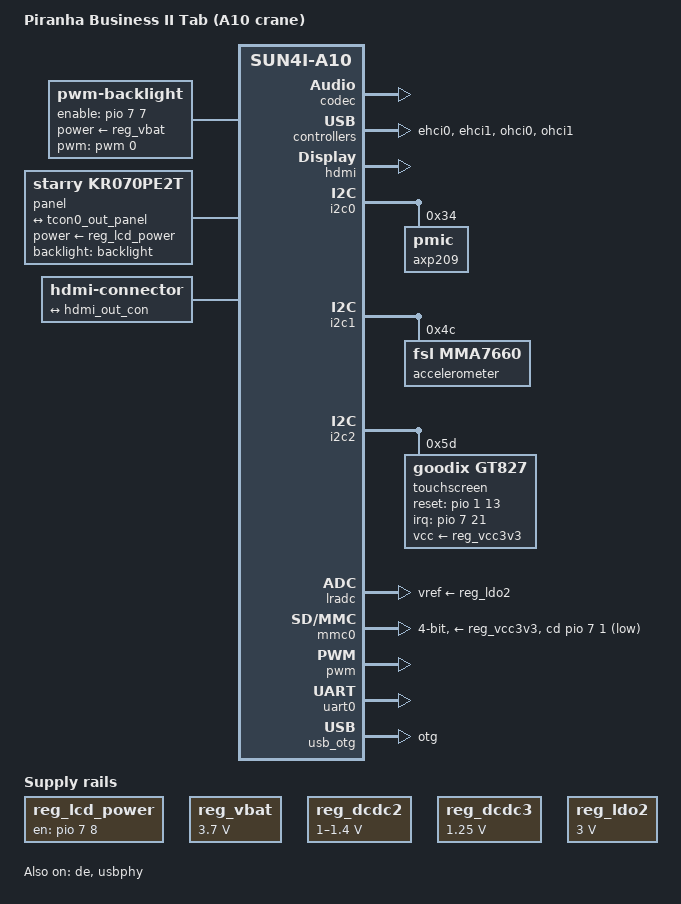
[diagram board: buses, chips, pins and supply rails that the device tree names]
// SPDX-License-Identifier: GPL-2.0+
/*
 * Piranha Business II Tab (Softwinners "crane" / crane-a702jhorange)
 * Allwinner A10 (sun4i) · 1 GB DDR3 · AXP209 · 800x480 starry,kr070pe2t
 * Goodix GT827 touchscreen (i2c2 @0x5D) · RTL8188CUS USB WiFi
 *
 * Topwise A721 (Pascal Roeleven, 2020) used as the base. Differences:
 *   - touchscreen: GT827@0x5D instead of FT5406@0x38
 *   - usb_otg: dr_mode = "host"  (no UART, a USB keyboard was essential on first boot)
 *   - HDMI enabled (the only diagnostic channel if the panel does not work)
 */

/dts-v1/;
#include "sun4i-a10.dtsi"
#include "sunxi-common-regulators.dtsi"

#include <dt-bindings/gpio/gpio.h>
#include <dt-bindings/input/input.h>
#include <dt-bindings/interrupt-controller/irq.h>
#include <dt-bindings/pwm/pwm.h>

/ {
	model = "Piranha Business II Tab (A10 crane)";
	compatible = "softwinners,crane", "topwise,a721", "allwinner,sun4i-a10";

	aliases {
		serial0 = &uart0;
	};

	backlight: backlight {
		compatible = "pwm-backlight";
		pwms = <&pwm 0 100000 PWM_POLARITY_INVERTED>;
		power-supply = <&reg_vbat>;
		enable-gpios = <&pio 7 7 GPIO_ACTIVE_HIGH>; /* PH7 */
		brightness-levels = <0 30 40 50 60 70 80 90 100>;
		default-brightness-level = <8>;
	};

	chosen {
		stdout-path = "serial0:115200n8";
	};

	/* fex lcd0_para ile birebir: 800x480, 33MHz, hbp46/vbp23 */
	panel: panel {
		compatible = "starry,kr070pe2t";
		backlight = <&backlight>;
		power-supply = <&reg_lcd_power>;

		port {
			panel_input: endpoint {
				remote-endpoint = <&tcon0_out_panel>;
			};
		};
	};

	/* HDMI fallback output — diagnostic channel since there is no UART */
	hdmi-connector {
		compatible = "hdmi-connector";
		type = "a";

		port {
			hdmi_con_in: endpoint {
				remote-endpoint = <&hdmi_out_con>;
			};
		};
	};

	reg_lcd_power: reg-lcd-power {
		compatible = "regulator-fixed";
		regulator-name = "reg-lcd-power";
		gpio = <&pio 7 8 GPIO_ACTIVE_HIGH>; /* PH8 */
		enable-active-high;
	};

	reg_vbat: reg-vbat {
		compatible = "regulator-fixed";
		regulator-name = "vbat";
		regulator-min-microvolt = <3700000>;
		regulator-max-microvolt = <3700000>;
	};
};

&codec {
	/* Android/FEX: audio_pa_ctrl = port:PA10 */
	allwinner,pa-gpios = <&pio 0 10 GPIO_ACTIVE_HIGH>; /* PA10 */
	status = "okay";
};

&cpu0 {
	cpu-supply = <&reg_dcdc2>;
};

&de {
	status = "okay";
};

&ehci0 {
	status = "okay";
};

&ehci1 {
	status = "okay";
};

&hdmi {
	status = "okay";
};

&hdmi_out {
	hdmi_out_con: endpoint {
		remote-endpoint = <&hdmi_con_in>;
	};
};

&i2c0 {
	status = "okay";

	axp209: pmic@34 {
		reg = <0x34>;
		interrupts = <0>;
	};
};

#include "axp209.dtsi"

&ac_power_supply {
	status = "okay";
};

&battery_power_supply {
	status = "okay";
};

&i2c1 {
	status = "okay";

	/* fex: dmard06 @0x1c + mma7660 @0x4c both are listed, sysfs shows both */
	accelerometer@4c {
		compatible = "fsl,mma7660";
		reg = <0x4c>;
	};
};

&i2c2 {
	status = "okay";

	/*
	 * Goodix GT827 @ 0x5D — HANDOFF (2026-08-20) is definite: the chip is a GT827,
	 * NOT a GT811. INT = PH21, RESET = PB13 (fex ctp_*_b).
	 * fex: revert_y=1, exchange_x_y=1
	 *
	 * mainline goodix.c GT9xx ailesi — GT827'yi desteklemez. Out-of-tree
	 * gt827.ko (drivers/input/touchscreen/gt827.c) binds once it is loaded.
	 * If it is not loaded the node simply stays unbound — it does NOT affect boot.
	 */
	touchscreen@5d {
		compatible = "goodix,gt827";
		reg = <0x5d>;
		interrupt-parent = <&pio>;
		interrupts = <7 21 IRQ_TYPE_EDGE_FALLING>;   /* PH21 */
		reset-gpios = <&pio 1 13 GPIO_ACTIVE_HIGH>;  /* PB13 */
		touchscreen-size-x = <800>;
		touchscreen-size-y = <480>;
		touchscreen-swapped-x-y;
		touchscreen-inverted-y;
		vcc-supply = <&reg_vcc3v3>;
		status = "okay";
	};
};

&lradc {
	vref-supply = <&reg_ldo2>;
	status = "okay";

	button-571 {
		label = "Volume Up";
		linux,code = <KEY_VOLUMEUP>;
		channel = <0>;
		voltage = <571428>;
	};

	button-761 {
		label = "Volume Down";
		linux,code = <KEY_VOLUMEDOWN>;
		channel = <0>;
		voltage = <761904>;
	};
};

&mmc0 {
	vmmc-supply = <&reg_vcc3v3>;
	bus-width = <4>;
	cd-gpios = <&pio 7 1 GPIO_ACTIVE_LOW>; /* PH1 */
	status = "okay";
};

&ohci0 {
	status = "okay";
};

&ohci1 {
	status = "okay";
};

&otg_sram {
	status = "okay";
};

&pio {
	vcc-pb-supply = <&reg_vcc3v3>;
	vcc-pf-supply = <&reg_vcc3v3>;
	vcc-ph-supply = <&reg_vcc3v3>;
};

&pwm {
	pinctrl-names = "default";
	pinctrl-0 = <&pwm0_pin>;
	status = "okay";
};

&reg_dcdc2 {
	regulator-always-on;
	regulator-min-microvolt = <1000000>;
	regulator-max-microvolt = <1400000>;
	regulator-name = "vdd-cpu";
};

&reg_dcdc3 {
	regulator-always-on;
	regulator-min-microvolt = <1250000>;
	regulator-max-microvolt = <1250000>;
	regulator-name = "vdd-int-dll";
};

&reg_ldo1 {
	regulator-name = "vdd-rtc";
};

&reg_ldo2 {
	regulator-always-on;
	regulator-min-microvolt = <3000000>;
	regulator-max-microvolt = <3000000>;
	regulator-name = "avcc";
};

&reg_usb0_vbus {
	status = "okay";
};

&reg_usb1_vbus {
	status = "okay";
};

&reg_usb2_vbus {
	status = "okay";
};

&tcon0_out {
	tcon0_out_panel: endpoint@0 {
		reg = <0>;
		remote-endpoint = <&panel_input>;
	};
};

&uart0 {
	pinctrl-names = "default";
	pinctrl-0 = <&uart0_pb_pins>;
	status = "okay";
};

/*
 * OTG: both host (USB keyboard/mouse) and gadget (g_ether USB Ethernet) should work.
 * With dr_mode="host" the gadget side was disabled (usb0 never appeared).
 * Even though ID-pin detection does not work on this board, the g_ether module forces the gadget.
 * Earlier note: the A721 used otg, but the keyboard did not work because of an ID-pin problem;
 * usb0_id_det-gpios (PH4) is defined to work around this.
 */
&usb_otg {
	dr_mode = "otg";
	status = "okay";
};

&usb_power_supply {
	status = "okay";
};

&usbphy {
	usb0_id_det-gpios = <&pio 7 4 GPIO_ACTIVE_HIGH>; /* PH4 */
	usb0_vbus_det-gpios = <&pio 7 5 GPIO_ACTIVE_HIGH>; /* PH5 */
	usb0_vbus-supply = <&reg_usb0_vbus>;
	usb1_vbus-supply = <&reg_usb1_vbus>;
	usb2_vbus-supply = <&reg_usb2_vbus>;
	status = "okay";
};
